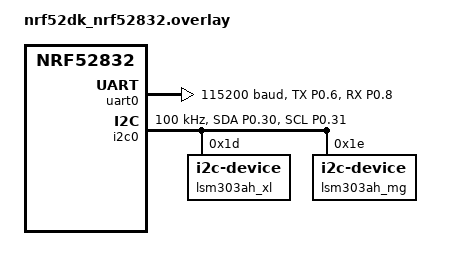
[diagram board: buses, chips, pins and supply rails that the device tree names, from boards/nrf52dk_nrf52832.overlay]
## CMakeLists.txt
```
#
# Copyright (c) 2016 Intel Corporation
#
# SPDX-License-Identifier: Apache-2.0
#

cmake_minimum_required(VERSION 3.20.0)
find_package(Zephyr REQUIRED HINTS $ENV{ZEPHYR_BASE})
project(nrf_connect_sdk_fundamentals)

target_sources(app PRIVATE 	src/main.c
				src/Accelerometer.c
			  	src/lsm303ah_reg.c
				src/GPS.c)
```

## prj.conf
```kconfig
CONFIG_SERIAL=y
CONFIG_UART_ASYNC_API=y
CONFIG_GPIO=y

CONFIG_UART_CONSOLE=n
CONFIG_RTT_CONSOLE=y

CONFIG_FPU=y

CONFIG_I2C=y
```

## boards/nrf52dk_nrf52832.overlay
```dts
&pinctrl {
    uart0_default: uart0_default {
        group1 {
            psels = <NRF_PSEL(UART_TX, 0, 6)>,  
                    <NRF_PSEL(UART_RX, 0, 8)>;   
        };
    };

    uart0_sleep: uart0_sleep {
        group1 {
            psels = <NRF_PSEL(UART_TX, 0, 6)>,
                    <NRF_PSEL(UART_RX, 0, 8)>;
            low-power-enable;
        };
    };
};

&uart0 {
    status = "okay";
    compatible = "nordic,nrf-uarte";
    current-speed = <115200>;
    pinctrl-0 = <&uart0_default>;
    pinctrl-1 = <&uart0_sleep>;
    pinctrl-names = "default", "sleep";
};


&i2c0 {
    status = "okay";
    compatible = "nordic,nrf-twi";
    pinctrl-0 = <&i2c0_default>;
    pinctrl-1 = <&i2c0_sleep>;
    pinctrl-names = "default", "sleep";
    
    /* Configure I2C frequency */
    clock-frequency = <I2C_BITRATE_STANDARD>; /* 100 kHz */
    
    /* LSM303AH sensor nodes */
    lsm303ah_xl: lsm303ah_xl@1d {
        compatible = "i2c-device";
        reg = <0x1d>;
        status = "okay";
    };
    
    lsm303ah_mg: lsm303ah_mg@1e {
        compatible = "i2c-device";
        reg = <0x1e>;
        status = "okay";
    };
};

&pinctrl {
    i2c0_default: i2c0_default {
        group1 {
            psels = <NRF_PSEL(TWIM_SDA, 0, 30)>,
                    <NRF_PSEL(TWIM_SCL, 0, 31)>;
        };
    };

    i2c0_sleep: i2c0_sleep {
        group1 {
            psels = <NRF_PSEL(TWIM_SDA, 0, 30)>,
                    <NRF_PSEL(TWIM_SCL, 0, 31)>;
            low-power-enable;
        };
    };
};
```

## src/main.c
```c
#include <zephyr/kernel.h>
#include <zephyr/device.h>
#include <zephyr/devicetree.h>
#include <zephyr/sys/printk.h>
#include "GPS.h"
#include "Accelerometer.h"



int main(void)
{
    
    UART_INIT();
    configure_gps_module();
    printk("Waiting for GPS GLL sentences...\n");
    while (1) {
        print_gps_data();
        lsm303ah_config_and_print();
        k_sleep(K_MSEC(1000));
    }
}
```

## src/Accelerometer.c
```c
#include <zephyr/kernel.h>
#include <zephyr/device.h>
#include <zephyr/drivers/i2c.h>
#include <zephyr/sys/printk.h>
#include "lsm303ah_reg.h"
#include "Accelerometer.h"

/* LSM303AH I2C addresses */


#define I2C_NODE DT_NODELABEL(i2c0)

/* I2C device specifications */
static const struct i2c_dt_spec xl_i2c = {
    .bus = DEVICE_DT_GET(I2C_NODE),
    .addr = LSM303AH_I2C_ADD_XL,
};

static const struct i2c_dt_spec mg_i2c = {
    .bus = DEVICE_DT_GET(I2C_NODE),
    .addr = LSM303AH_I2C_ADD_MG,
};

/* Data buffers */
static int16_t accel_data[3];
static int16_t mag_data[3];

/* Platform functions */


static int32_t platform_write(void *handle, uint8_t reg, const uint8_t *bufp, uint16_t len)
{
    const struct i2c_dt_spec *i2c_dev = (const struct i2c_dt_spec *)handle;
    uint8_t write_buf[len + 1];

    if (len > 1) reg |= 0x80;  
    
    write_buf[0] = reg;
    memcpy(&write_buf[1], bufp, len);
    
    return i2c_write_dt(i2c_dev, write_buf, len + 1);
}

static int32_t platform_read(void *handle, uint8_t reg, uint8_t *bufp, uint16_t len)
{
    const struct i2c_dt_spec *i2c_dev = (const struct i2c_dt_spec *)handle;
    
    if (len > 1) reg |= 0x80;  
    
    return i2c_write_read_dt(i2c_dev, &reg, 1, bufp, len);
}

void lsm303ah_config_and_print(void)
{
    stmdev_ctx_t dev_ctx_xl = {.write_reg = platform_write, .read_reg = platform_read, .handle = (void *)&xl_i2c};
    stmdev_ctx_t dev_ctx_mg = {.write_reg = platform_write, .read_reg = platform_read, .handle = (void *)&mg_i2c};
    uint8_t whoami, rst;
    lsm303ah_reg_t reg;

    printk("LSM303AH sensor starting...\n");

    
    if (!device_is_ready(xl_i2c.bus) || !device_is_ready(mg_i2c.bus)) {
        printk("I2C device not ready\n");
        return;
    }

    k_msleep(100);  

    /* Check device IDs */
    lsm303ah_xl_device_id_get(&dev_ctx_xl, &whoami);
    if (whoami != LSM303AH_ID_XL) {
        printk("Accelerometer ID error: 0x%02X\n", whoami);
        return;
    }

    lsm303ah_mg_device_id_get(&dev_ctx_mg, &whoami);
    if (whoami != LSM303AH_ID_MG) {
        printk("Magnetometer ID error: 0x%02X\n", whoami);
        return;
    }
   
    /* Configure sensors */
    lsm303ah_xl_block_data_update_set(&dev_ctx_xl, PROPERTY_ENABLE);
    lsm303ah_mg_block_data_update_set(&dev_ctx_mg, PROPERTY_ENABLE);
    lsm303ah_xl_full_scale_set(&dev_ctx_xl, LSM303AH_XL_2g);
    lsm303ah_xl_data_rate_set(&dev_ctx_xl, LSM303AH_XL_ODR_100Hz_LP);
    lsm303ah_mg_data_rate_set(&dev_ctx_mg, LSM303AH_MG_ODR_10Hz);
    lsm303ah_mg_operating_mode_set(&dev_ctx_mg, LSM303AH_MG_CONTINUOUS_MODE);
    lsm303ah_mg_set_rst_mode_set(&dev_ctx_mg, LSM303AH_MG_SENS_OFF_CANC_EVERY_ODR);
    lsm303ah_mg_offset_temp_comp_set(&dev_ctx_mg, PROPERTY_ENABLE);

    printk("Sensor initialized\n");

    
    while (1) {
        /* Read accelerometer */
        lsm303ah_xl_status_reg_get(&dev_ctx_xl, &reg.status_a);
        if (reg.status_a.drdy) {
            lsm303ah_acceleration_raw_get(&dev_ctx_xl, accel_data);
            printk("A: %d %d %d\n", accel_data[0], accel_data[1], accel_data[2]);
        }
        else printk("Acceleration data not ready");

        /* Read magnetometer */
        lsm303ah_mg_status_get(&dev_ctx_mg, &reg.status_reg_m);
        if (reg.status_reg_m.zyxda) {
            lsm303ah_magnetic_raw_get(&dev_ctx_mg, mag_data);
            printk("M: %d %d %d\n", mag_data[0], mag_data[1], mag_data[2]);
        }
        else printk("Magnetic data not ready");

        k_msleep(100);
    }
}
```

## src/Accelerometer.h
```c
#define LSM303AH_I2C_ADD_XL    0x1D
#define LSM303AH_I2C_ADD_MG    0x1E

static int32_t platform_write(void *handle, uint8_t reg, const uint8_t *bufp, uint16_t len);
static int32_t platform_read(void *handle, uint8_t reg, uint8_t *bufp, uint16_t len);
void lsm303ah_config_and_print(void);
```

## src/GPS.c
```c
#include <zephyr/kernel.h>
#include <zephyr/device.h>
#include <zephyr/devicetree.h>
#include <zephyr/sys/printk.h>
#include <zephyr/drivers/uart.h>
#include <string.h>
#include <stdlib.h>
#include <stdio.h>

#include "GPS.h"

static struct gps_data current_gps_data = {0};
static char nmea_buffer[NMEA_BUFFER_SIZE];
static int nmea_buffer_pos = 0;


static uint8_t rx_buffers[NUM_RX_BUFFERS][RX_BUFFER_SIZE];
static uint8_t tx_buffer[UART_TX_BUFFER_SIZE];
static int current_rx_buffer = 0;

/* Flag to indicate new GPS data is available */
static volatile bool new_gps_data = false;

const struct device *uart = DEVICE_DT_GET(DT_NODELABEL(uart0));

static uint8_t tx_buf[] = {"Waiting for GPS coordinates...\r\n"};

/* Function Prototypes */


/* Convert NMEA coordinate format to decimal degrees */
static float nmea_to_decimal(const char *nmea_coord, char direction)
{
    if (strlen(nmea_coord) == 0) {
        return 0.0;
    }
    
    float coord = atof(nmea_coord);
    float degrees = (int)(coord / 100);
    float minutes = coord - (degrees * 100);
    
    float decimal = degrees + (minutes / 60.0);
    
    if (direction == 'S' || direction == 'W') {
        decimal = -decimal;
    }
    
    return decimal;
}

/* Parse GPGLL (Geographic Position - Latitude/Longitude) sentence */
static int parse_gpgll(char *sentence)
{
    char *fields[MAX_NMEA_FIELDS];
    char *token;
    int field_count = 0;
    char sentence_copy[NMEA_BUFFER_SIZE];
    
    /* Make a copy since strtok modifies the string */
    strncpy(sentence_copy, sentence, sizeof(sentence_copy) - 1);
    sentence_copy[sizeof(sentence_copy) - 1] = '\0';
    
    printk("GPGLL: %s\n", sentence);
    
    /* Tokenize the sentence */
    token = strtok(sentence_copy, ",");
    while (token != NULL && field_count < MAX_NMEA_FIELDS) {
        fields[field_count++] = token;
        token = strtok(NULL, ",");
    }
    
    if (field_count < 7) {
        return -1; // Invalid sentence
    }
    
    /* Check if data is valid (field 6 should be 'A' for active) */
    if (field_count > 6 && fields[6][0] != 'A') {
        current_gps_data.valid_fix = false;
        return 0; // Data not valid
    }
    
    current_gps_data.valid_fix = true;
    
    /* Parse latitude (field 1) and direction (field 2) */
    if (strlen(fields[1]) > 0 && strlen(fields[2]) > 0) {
        current_gps_data.latitude = nmea_to_decimal(fields[1], fields[2][0]);
    }
    
    /* Parse longitude (field 3) and direction (field 4) */
    if (strlen(fields[3]) > 0 && strlen(fields[4]) > 0) {
        current_gps_data.longitude = nmea_to_decimal(fields[3], fields[4][0]);
    }
    
    /* Parse time (field 5) - HHMMSS.SSS */
    if (strlen(fields[5]) >= 6) {
        snprintf(current_gps_data.time_str, sizeof(current_gps_data.time_str),
                 "%.2s:%.2s:%.2s", fields[5], fields[5] + 2, fields[5] + 4);
    }
    
    return 0;
}

static void process_nmea_line(char *line)
{
    if (strncmp(line, "$GPGLL", 6) == 0) {
        if (parse_gpgll(line) == 0) {
            new_gps_data = true; // Signal new data is available
        }
    }
}

static void process_uart_data(uint8_t *data, size_t len)
{
    for (size_t i = 0; i < len; i++) {
        char c = (char)data[i];
        
        if (c == '\r') {
            continue; // Skip carriage return
        }
        
        if (c == '\n') {
            /* End of NMEA sentence */
            nmea_buffer[nmea_buffer_pos] = '\0';
            
            /* Process the complete NMEA sentence */
            if (nmea_buffer_pos > 0) {
                process_nmea_line(nmea_buffer);
            }
            
            nmea_buffer_pos = 0; // Reset buffer
        } else {
            /* Add character to buffer */
            if (nmea_buffer_pos < (NMEA_BUFFER_SIZE - 1)) {
                nmea_buffer[nmea_buffer_pos++] = c;
            } else {
                nmea_buffer_pos = 0; // Buffer overflow, reset
            }
        }
    }
}

void print_gps_data(void)
{
    printk("\n=== GPS COORDINATES ===\n");
    
    if (current_gps_data.valid_fix) {
        printk("Latitude: %.6f°\n", current_gps_data.latitude);
        printk("Longitude: %.6f°\n", current_gps_data.longitude);
        printk("Time: %s\n", current_gps_data.time_str);
    } else {
        printk("No GPS fix - waiting for satellites...\n");
    }
    
    printk("=======================\n\n");
}

static int send_gps_command(const char *command)
{
    int ret;
    size_t len = strlen(command);
    
    if (len >= UART_TX_BUFFER_SIZE) {
        printk("Command too long\n");
        return -EINVAL;
    }
    
    memcpy(tx_buffer, command, len);
    
    ret = uart_tx(uart, tx_buffer, len, SYS_FOREVER_US);
    if (ret) {
        printk("Failed to send command: %d\n", ret);
        return ret;
    }
    
    printk("Sent GPS command: %s", command);
    return 0;
}

void configure_gps_module(void)
{
    k_sleep(K_SECONDS(2)); // Wait for GPS to fully initialize

    /* Using these commands from RADIONOVA GNSS/GPS MTK NMEA Packet Commands document */
    /* Sets baudrate to 115200 */
    send_gps_command("$PMTK251,115200*1F\r\n");
    k_sleep(K_MSEC(100));
    
    /* Enable EASY */
    send_gps_command("$PMTK353,1,0,0,0,0*2A\r\n");
    k_sleep(K_MSEC(100));
    
    /* Set position update rate to 1Hz (default) */
    send_gps_command("$PMTK220,1000*1F\r\n");
    k_sleep(K_MSEC(100));
    
    /* Enable specific NMEA sentence (GLL only) */
    send_gps_command("$PMTK314,1,0,0,0,0,0,0,0,0,0,0,0,0,0,0,0,0,0,0*29\r\n");
    k_sleep(K_MSEC(100));
    
    printk("GPS module configured for GLL sentences\n");
}

/* UART callback function */
static void uart_cb(const struct device *dev, struct uart_event *evt, void *user_data)
{
    switch (evt->type) {
    case UART_RX_RDY:
        process_uart_data(&evt->data.rx.buf[evt->data.rx.offset], evt->data.rx.len);
        break;
        
    case UART_RX_BUF_REQUEST:
        /* Provide next buffer for receiving */
        current_rx_buffer = (current_rx_buffer + 1) % NUM_RX_BUFFERS;
        uart_rx_buf_rsp(uart, rx_buffers[current_rx_buffer], RX_BUFFER_SIZE);
        break;

    case UART_RX_DISABLED:
        printk("UART RX disabled, restarting...\n");
        uart_rx_enable(uart, rx_buffers[current_rx_buffer], RX_BUFFER_SIZE, 100);
        break;

    case UART_TX_ABORTED:
        printk("UART TX aborted\n");
        break;

    default:
        break;
    }
}

void UART_INIT(void)
{
    int ret;
    
    if (!device_is_ready(uart)) {
        printk("UART device not ready\n");
        return 1;
    }
    
    ret = uart_callback_set(uart, uart_cb, NULL);
    if (ret) {
        printk("Failed to set UART callback\n");
        return 1;
    }
    
    ret = uart_tx(uart, tx_buf, sizeof(tx_buf), SYS_FOREVER_MS);
    if (ret) {
        printk("Failed to send initial message\n");
        return 1;
    }
    
   
    ret = uart_rx_enable(uart, rx_buffers[current_rx_buffer], RX_BUFFER_SIZE, RECEIVE_TIMEOUT);
    if (ret) {
        printk("Failed to enable UART RX\n");
        return 1;
    }
    
    printk("UART initialized, configuring GPS...\n");
}
```

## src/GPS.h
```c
#define UART_TX_BUFFER_SIZE 128
#define NUM_RX_BUFFERS 2
#define RX_BUFFER_SIZE 128
#define RECEIVE_TIMEOUT 100


#define NMEA_BUFFER_SIZE 256
#define MAX_NMEA_FIELDS 20

struct gps_data {
    float latitude;
    float longitude;
    bool valid_fix;
    char time_str[16];
};

static int parse_gpgll(char *sentence);
static float nmea_to_decimal(const char *nmea_coord, char direction);
static void process_nmea_line(char *line);
static void process_uart_data(uint8_t *data, size_t len);

void print_gps_data(void);
static int send_gps_command(const char *command);
void configure_gps_module(void);
void UART_INIT(void);
```
